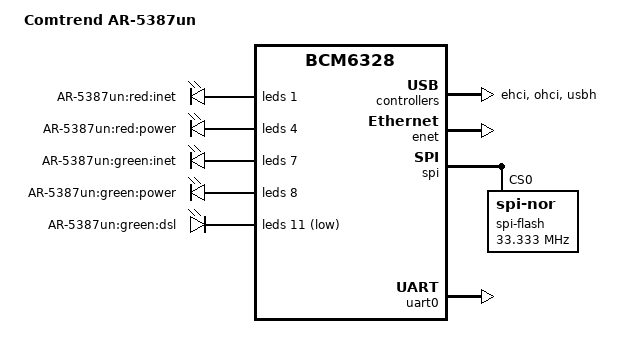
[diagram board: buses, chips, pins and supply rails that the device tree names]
// SPDX-License-Identifier: GPL-2.0+
/*
 * Copyright (C) 2017 Álvaro Fernández Rojas <noltari@gmail.com>
 */

/dts-v1/;

#include "brcm,bcm6328.dtsi"

/ {
	model = "Comtrend AR-5387un";
	compatible = "comtrend,ar5387-un", "brcm,bcm6328";

	aliases {
		serial0 = &uart0;
	};

	chosen {
		stdout-path = "serial0:115200n8";
	};
};

&ehci {
	status = "okay";
};

&enet {
	status = "okay";

	port@0 {
		compatible = "brcm,enetsw-port";
		reg = <0>;
		label = "fe1";
		brcm,phy-id = <1>;
	};

	port@1 {
		compatible = "brcm,enetsw-port";
		reg = <1>;
		label = "fe2";
		brcm,phy-id = <2>;
	};

	port@2 {
		compatible = "brcm,enetsw-port";
		reg = <2>;
		label = "fe3";
		brcm,phy-id = <3>;
	};

	port@3 {
		compatible = "brcm,enetsw-port";
		reg = <3>;
		label = "fe4";
		brcm,phy-id = <4>;
	};
};

&leds {
	status = "okay";

	led@1 {
		reg = <1>;
		label = "AR-5387un:red:inet";
	};

	led@4 {
		reg = <4>;
		label = "AR-5387un:red:power";
	};

	led@7 {
		reg = <7>;
		label = "AR-5387un:green:inet";
	};

	led@8 {
		reg = <8>;
		label = "AR-5387un:green:power";
	};

	led@11 {
		reg = <11>;
		active-low;
		label = "AR-5387un:green:dsl";
	};
};

&ohci {
	status = "okay";
};

&spi {
	status = "okay";

	spi-flash@0 {
		compatible = "jedec,spi-nor";
		reg = <0>;
		#address-cells = <1>;
		#size-cells = <1>;
		spi-max-frequency = <33333334>;
	};
};

&uart0 {
	u-boot,dm-pre-reloc;
	status = "okay";
};

&usbh {
	status = "okay";
};
